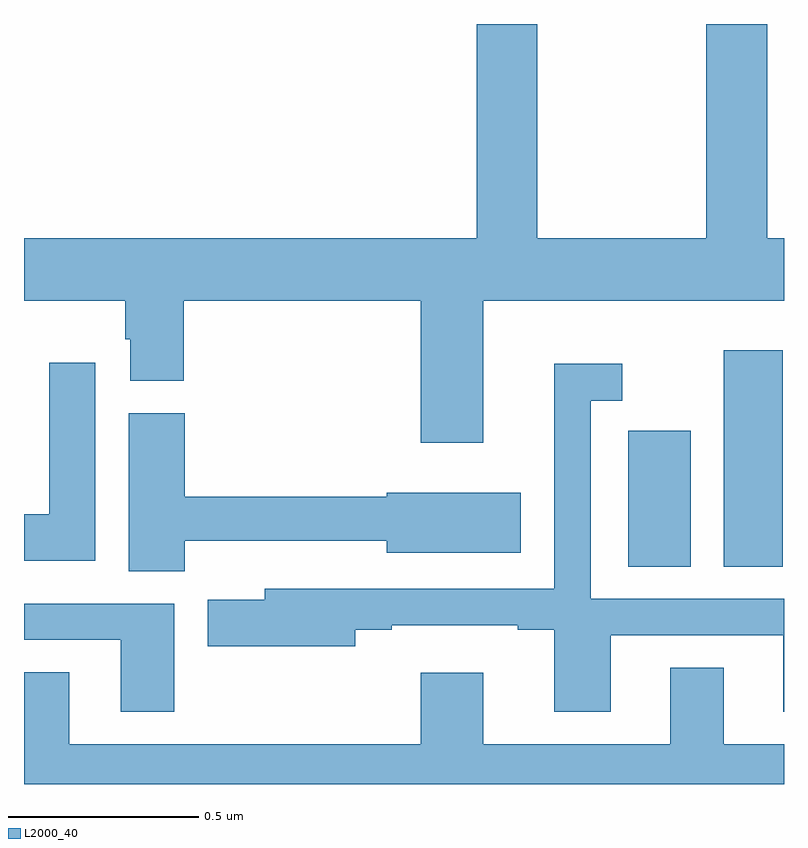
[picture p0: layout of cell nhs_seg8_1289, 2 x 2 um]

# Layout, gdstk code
import gdstk
lib = gdstk.Library(unit=1e-6, precision=1e-09)
def R(c, l, rs):  # rectangles x0, y0, x1, y1
    for r in rs: c.add(gdstk.rectangle(r[:2], r[2:], *l))
def P(c, l, *ps):  # polygons
    for p in ps: c.add(gdstk.Polygon(p, *l))
L2000_40 = (2000, 40)

nhs_seg8_1289 = lib.new_cell('nhs_seg8_1289')
R(nhs_seg8_1289, L2000_40, [(129.59,1110.472,129.754,1110.829), (129.842,1110.472,129.997,1111.042)])
P(nhs_seg8_1289, L2000_40, [(129.208,1111.172),(130,1111.172),(130,1111.336),(129.956,1111.336),(129.956,1111.9),(129.796,1111.9),(129.796,1111.336),(129.351,1111.336),(129.351,1111.9),(129.191,1111.9),(129.191,1111.336),(128,1111.336),(128,1111.172),(128.267,1111.172),(128.267,1111.071),(128.279,1111.071),(128.279,1110.961),(128.42,1110.961),(128.42,1111.172),(129.044,1111.172),(129.044,1110.798),(129.208,1110.798)],
  [(128.188,1111.009),(128.066,1111.009),(128.066,1110.61),(128,1110.61),(128,1110.488),(128.188,1110.488)],
  [(129.544,1110.291),(129.998,1110.291),(129.998,1110.09),(130,1110.09),(130,1110.387),(129.492,1110.387),(129.492,1110.909),(129.574,1110.909),(129.574,1111.006),(129.395,1111.006),(129.395,1110.763),(129.396,1110.763),(129.396,1110.414),(128.633,1110.414),(128.633,1110.385),(128.483,1110.385),(128.483,1110.263),(128.872,1110.263),(128.872,1110.306),(128.968,1110.306),(128.968,1110.318),(129.299,1110.318),(129.299,1110.306),(129.395,1110.306),(129.395,1110.09),(129.544,1110.09)],
  [(128.423,1110.54),(128.954,1110.54),(128.954,1110.509),(129.307,1110.509),(129.307,1110.667),(128.954,1110.667),(128.954,1110.656),(128.423,1110.656),(128.423,1110.876),(128.276,1110.876),(128.276,1110.46),(128.423,1110.46)],
  [(128.395,1110.375),(128,1110.375),(128,1110.279),(128.255,1110.279),(128.255,1110.09),(128.395,1110.09)],
  [(130,1110.004),(129.841,1110.004),(129.841,1110.206),(129.701,1110.206),(129.701,1110.004),(129.208,1110.004),(129.208,1110.193),(129.044,1110.193),(129.044,1110.004),(128.119,1110.004),(128.119,1110.194),(128,1110.194),(128,1109.9),(130,1109.9)])

lib.write_gds('nhs_seg8_1289.gds')
